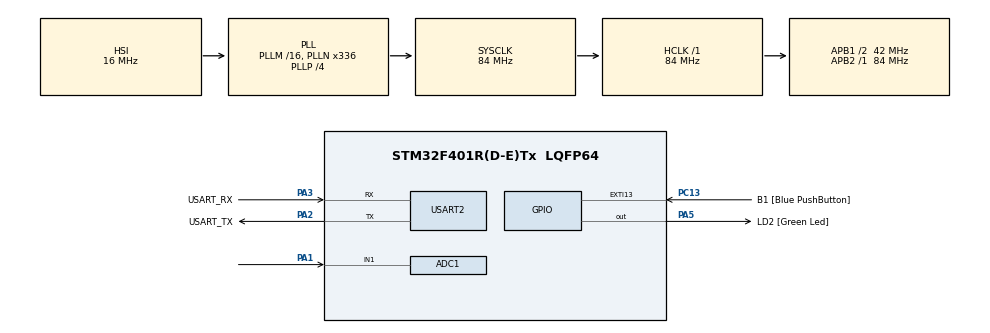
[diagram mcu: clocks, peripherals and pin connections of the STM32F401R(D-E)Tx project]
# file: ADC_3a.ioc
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ADC1.Channel-0\#ChannelRegularConversion=ADC_CHANNEL_1
ADC1.Channel-1\#ChannelInjectedConversion=ADC_CHANNEL_1
ADC1.Channel-4\#ChannelRegularConversion=ADC_CHANNEL_TEMPSENSOR
ADC1.Channel-5\#ChannelRegularConversion=ADC_CHANNEL_VREFINT
ADC1.ContinuousConvMode=DISABLE
ADC1.DMAContinuousRequests=ENABLE
ADC1.EOCSelection=ADC_EOC_SEQ_CONV
ADC1.ExternalTrigConv=ADC_EXTERNALTRIGCONV_T2_TRGO
ADC1.InjNumberOfConversion=1
ADC1.InjectedOffset-1\#ChannelInjectedConversion=0
ADC1.InjectedRank-1\#ChannelInjectedConversion=1
ADC1.NbrOfConversion=3
ADC1.NbrOfConversionFlag=1
ADC1.Rank-0\#ChannelRegularConversion=1
ADC1.Rank-4\#ChannelRegularConversion=2
ADC1.Rank-5\#ChannelRegularConversion=3
ADC1.SamplingTime-0\#ChannelRegularConversion=ADC_SAMPLETIME_480CYCLES
ADC1.SamplingTime-1\#ChannelInjectedConversion=ADC_SAMPLETIME_3CYCLES
ADC1.SamplingTime-4\#ChannelRegularConversion=ADC_SAMPLETIME_480CYCLES
ADC1.SamplingTime-5\#ChannelRegularConversion=ADC_SAMPLETIME_480CYCLES
ADC1.ScanConvMode=ENABLE
ADC1.master=1
Dma.ADC1.1.Direction=DMA_PERIPH_TO_MEMORY
Dma.ADC1.1.FIFOMode=DMA_FIFOMODE_DISABLE
Dma.ADC1.1.Instance=DMA2_Stream0
Dma.ADC1.1.MemDataAlignment=DMA_MDATAALIGN_HALFWORD
Dma.ADC1.1.MemInc=DMA_MINC_ENABLE
Dma.ADC1.1.Mode=DMA_CIRCULAR
Dma.ADC1.1.PeriphDataAlignment=DMA_PDATAALIGN_HALFWORD
Dma.ADC1.1.PeriphInc=DMA_PINC_DISABLE
Dma.ADC1.1.Priority=DMA_PRIORITY_LOW
Dma.Request0=USART2_TX
Dma.Request1=ADC1
Dma.USART2_TX.0.Direction=DMA_MEMORY_TO_PERIPH
Dma.USART2_TX.0.FIFOMode=DMA_FIFOMODE_DISABLE
Dma.USART2_TX.0.Instance=DMA1_Stream6
Dma.USART2_TX.0.MemDataAlignment=DMA_MDATAALIGN_BYTE
Dma.USART2_TX.0.MemInc=DMA_MINC_ENABLE
Dma.USART2_TX.0.Mode=DMA_NORMAL
Dma.USART2_TX.0.PeriphDataAlignment=DMA_PDATAALIGN_BYTE
Dma.USART2_TX.0.PeriphInc=DMA_PINC_DISABLE
Dma.USART2_TX.0.Priority=DMA_PRIORITY_LOW
Mcu.Family=STM32F4
Mcu.Name=STM32F401R(D-E)Tx
Mcu.Package=LQFP64
NVIC.ADC_IRQn=true\:0\:0\:false\:false\:true\:true\:true\:true
NVIC.DMA1_Stream6_IRQn=true\:0\:0\:false\:false\:true\:false\:true\:true
NVIC.DMA2_Stream0_IRQn=true\:0\:0\:false\:false\:true\:false\:true\:true
NVIC.PriorityGroup=NVIC_PRIORITYGROUP_0
NVIC.TIM2_IRQn=true\:0\:0\:false\:false\:true\:true\:true\:true
NVIC.USART2_IRQn=true\:0\:0\:false\:false\:true\:true\:true\:true
PA1.Signal=SharedAnalog_PA1
PA13.GPIO_Label=TMS
PA13.Mode=Serial_Wire
PA13.Signal=SYS_JTMS-SWDIO
PA14.GPIO_Label=TCK
PA14.Mode=Serial_Wire
PA14.Signal=SYS_JTCK-SWCLK
PA2.GPIO_Label=USART_TX
PA2.GPIO_Mode=GPIO_MODE_AF_PP
PA2.GPIO_PuPd=GPIO_NOPULL
PA2.GPIO_Speed=GPIO_SPEED_FREQ_LOW
PA2.Mode=Asynchronous
PA2.Signal=USART2_TX
PA3.GPIO_Label=USART_RX
PA3.GPIO_Mode=GPIO_MODE_AF_PP
PA3.GPIO_PuPd=GPIO_NOPULL
PA3.GPIO_Speed=GPIO_SPEED_FREQ_LOW
PA3.Mode=Asynchronous
PA3.Signal=USART2_RX
PA5.GPIO_Label=LD2 [Green Led]
PA5.GPIO_Mode=GPIO_MODE_OUTPUT_PP
PA5.GPIO_PuPd=GPIO_NOPULL
PA5.GPIO_Speed=GPIO_SPEED_FREQ_LOW
PA5.Signal=GPIO_Output
PB3.GPIO_Label=SWO
PB3.Signal=SYS_JTDO-SWO
PC13-ANTI_TAMP.GPIO_Label=B1 [Blue PushButton]
PC13-ANTI_TAMP.GPIO_ModeDefaultEXTI=GPIO_MODE_IT_FALLING
PC13-ANTI_TAMP.GPIO_PuPd=GPIO_NOPULL
PC13-ANTI_TAMP.Signal=GPXTI13
PC14-OSC32_IN.Mode=LSE-External-Oscillator
PC14-OSC32_IN.Signal=RCC_OSC32_IN
PC15-OSC32_OUT.Mode=LSE-External-Oscillator
PC15-OSC32_OUT.Signal=RCC_OSC32_OUT
PH0\ -\ OSC_IN.Mode=HSE-External-Clock-Source
PH0\ -\ OSC_IN.Signal=RCC_OSC_IN
PH1\ -\ OSC_OUT.Mode=HSE-External-Clock-Source
PH1\ -\ OSC_OUT.Signal=RCC_OSC_OUT
ProjectManager.HeapSize=0x200
ProjectManager.StackSize=0x400
ProjectManager.TargetToolchain=STM32CubeIDE
RCC.48MHZClocksFreq_Value=48000000
RCC.AHBFreq_Value=84000000
RCC.APB1CLKDivider=RCC_HCLK_DIV2
RCC.APB1Freq_Value=42000000
RCC.APB1TimFreq_Value=84000000
RCC.APB2Freq_Value=84000000
RCC.APB2TimFreq_Value=84000000
RCC.CortexFreq_Value=84000000
RCC.HCLKFreq_Value=84000000
RCC.HSE_VALUE=8000000
RCC.HSI_VALUE=16000000
RCC.PLLN=336
RCC.PLLP=RCC_PLLP_DIV4
RCC.PLLQ=7
RCC.SYSCLKFreq_VALUE=84000000
RCC.SYSCLKSource=RCC_SYSCLKSOURCE_PLLCLK
RCC.VCOOutputFreq_Value=336000000
SH.SharedAnalog_PA1.0=GPIO_Analog
SH.SharedAnalog_PA1.1=ADC1_IN1,IN1
TIM2.Period=10000-1
TIM2.Prescaler=8400-1
TIM2.TIM_MasterOutputTrigger=TIM_TRGO_UPDATE
USART2.VirtualMode=VM_ASYNC
VP_ADC1_TempSens_Input.Mode=IN-TempSens
VP_ADC1_Vref_Input.Mode=IN-Vrefint
VP_TIM2_VS_ClockSourceINT.Mode=Internal
board=NUCLEO-F401RE

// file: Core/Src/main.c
/* USER CODE BEGIN Header */
/**
  ******************************************************************************
  * @file           : main.c
  * @brief          : Main program body
  ******************************************************************************
  * @attention
  *
  * Copyright (c) 2024 STMicroelectronics.
  * All rights reserved.
  *
  * This software is licensed under terms that can be found in the LICENSE file
  * in the root directory of this software component.
  * If no LICENSE file comes with this software, it is provided AS-IS.
  *
  ******************************************************************************
  */
/* USER CODE END Header */
#include "main.h"

ADC_HandleTypeDef hadc1;
DMA_HandleTypeDef hdma_adc1;

TIM_HandleTypeDef htim2;

UART_HandleTypeDef huart2;
DMA_HandleTypeDef hdma_usart2_tx;

void SystemClock_Config(void);
static void MX_GPIO_Init(void);
static void MX_DMA_Init(void);
static void MX_USART2_UART_Init(void);
static void MX_ADC1_Init(void);
static void MX_TIM2_Init(void);

/* USER CODE BEGIN 0 */
#define TEMPO 1000
#define CHANNEL_COUNT 3

char buffer_uart[100]; // empty buffer with predefined maximum capacity
uint16_t buffer_dma[CHANNEL_COUNT];

void HAL_ADC_ConvCpltCallback(ADC_HandleTypeDef *hadc) {
	float vpot = buffer_dma[0]*3.3/4096.0;
	float vtemp = (buffer_dma[1]*3.3/4096.0-0.76)/0.0025+25;
	float vrefint = buffer_dma[2]*3.3/4096.0;
	int length = snprintf(
			buffer_uart,
			sizeof(buffer_uart),
			"Potentiometer: %.3f V; Temperature: %.3f %cC; Vrefint: %.3f V\n",
			vpot, vtemp, 176, vrefint);
	HAL_UART_Transmit_DMA(&huart2, buffer_uart, length);
}
/* USER CODE END 0 */

int main(void)
{

  /* MCU Configuration--------------------------------------------------------*/

  /* Reset of all peripherals, Initializes the Flash interface and the Systick. */
  HAL_Init();

  /* Configure the system clock */
  SystemClock_Config();

  /* Initialize all configured peripherals */
  MX_GPIO_Init();
  MX_DMA_Init();
  MX_USART2_UART_Init();
  MX_ADC1_Init();
  MX_TIM2_Init();
  /* USER CODE BEGIN 2 */
  HAL_TIM_Base_Start(&htim2);
  HAL_ADC_Start_DMA(&hadc1, &buffer_dma[0], CHANNEL_COUNT);
  /* USER CODE END 2 */

  /* Infinite loop */
  while (1)
  {

  }
}

void SystemClock_Config(void)
{
  RCC_OscInitTypeDef RCC_OscInitStruct = {0};
  RCC_ClkInitTypeDef RCC_ClkInitStruct = {0};

  /** Configure the main internal regulator output voltage
  */
  __HAL_RCC_PWR_CLK_ENABLE();
  __HAL_PWR_VOLTAGESCALING_CONFIG(PWR_REGULATOR_VOLTAGE_SCALE2);

  /** Initializes the RCC Oscillators according to the specified parameters
  * in the RCC_OscInitTypeDef structure.
  */
  RCC_OscInitStruct.OscillatorType = RCC_OSCILLATORTYPE_HSI;
  RCC_OscInitStruct.HSIState = RCC_HSI_ON;
  RCC_OscInitStruct.HSICalibrationValue = RCC_HSICALIBRATION_DEFAULT;
  RCC_OscInitStruct.PLL.PLLState = RCC_PLL_ON;
  RCC_OscInitStruct.PLL.PLLSource = RCC_PLLSOURCE_HSI;
  RCC_OscInitStruct.PLL.PLLM = 16;
  RCC_OscInitStruct.PLL.PLLN = 336;
  RCC_OscInitStruct.PLL.PLLP = RCC_PLLP_DIV4;
  RCC_OscInitStruct.PLL.PLLQ = 7;
  if (HAL_RCC_OscConfig(&RCC_OscInitStruct) != HAL_OK)
  {
    Error_Handler();
  }

  /** Initializes the CPU, AHB and APB buses clocks
  */
  RCC_ClkInitStruct.ClockType = RCC_CLOCKTYPE_HCLK|RCC_CLOCKTYPE_SYSCLK
                              |RCC_CLOCKTYPE_PCLK1|RCC_CLOCKTYPE_PCLK2;
  RCC_ClkInitStruct.SYSCLKSource = RCC_SYSCLKSOURCE_PLLCLK;
  RCC_ClkInitStruct.AHBCLKDivider = RCC_SYSCLK_DIV1;
  RCC_ClkInitStruct.APB1CLKDivider = RCC_HCLK_DIV2;
  RCC_ClkInitStruct.APB2CLKDivider = RCC_HCLK_DIV1;

  if (HAL_RCC_ClockConfig(&RCC_ClkInitStruct, FLASH_LATENCY_2) != HAL_OK)
  {
    Error_Handler();
  }
}

static void MX_ADC1_Init(void)
{

  ADC_ChannelConfTypeDef sConfig = {0};
  ADC_InjectionConfTypeDef sConfigInjected = {0};

  /** Configure the global features of the ADC (Clock, Resolution, Data Alignment and number of conversion)
  */
  hadc1.Instance = ADC1;
  hadc1.Init.ClockPrescaler = ADC_CLOCK_SYNC_PCLK_DIV4;
  hadc1.Init.Resolution = ADC_RESOLUTION_12B;
  hadc1.Init.ScanConvMode = ENABLE;
  hadc1.Init.ContinuousConvMode = DISABLE;
  hadc1.Init.DiscontinuousConvMode = DISABLE;
  hadc1.Init.ExternalTrigConvEdge = ADC_EXTERNALTRIGCONVEDGE_RISING;
  hadc1.Init.ExternalTrigConv = ADC_EXTERNALTRIGCONV_T2_TRGO;
  hadc1.Init.DataAlign = ADC_DATAALIGN_RIGHT;
  hadc1.Init.NbrOfConversion = 3;
  hadc1.Init.DMAContinuousRequests = ENABLE;
  hadc1.Init.EOCSelection = ADC_EOC_SEQ_CONV;
  if (HAL_ADC_Init(&hadc1) != HAL_OK)
  {
    Error_Handler();
  }

  /** Configure for the selected ADC regular channel its corresponding rank in the sequencer and its sample time.
  */
  sConfig.Channel = ADC_CHANNEL_1;
  sConfig.Rank = 1;
  sConfig.SamplingTime = ADC_SAMPLETIME_480CYCLES;
  if (HAL_ADC_ConfigChannel(&hadc1, &sConfig) != HAL_OK)
  {
    Error_Handler();
  }

  /** Configure for the selected ADC regular channel its corresponding rank in the sequencer and its sample time.
  */
  sConfig.Channel = ADC_CHANNEL_TEMPSENSOR;
  sConfig.Rank = 2;
  if (HAL_ADC_ConfigChannel(&hadc1, &sConfig) != HAL_OK)
  {
    Error_Handler();
  }

  /** Configure for the selected ADC regular channel its corresponding rank in the sequencer and its sample time.
  */
  sConfig.Channel = ADC_CHANNEL_VREFINT;
  sConfig.Rank = 3;
  if (HAL_ADC_ConfigChannel(&hadc1, &sConfig) != HAL_OK)
  {
    Error_Handler();
  }

  /** Configures for the selected ADC injected channel its corresponding rank in the sequencer and its sample time
  */
  sConfigInjected.InjectedChannel = ADC_CHANNEL_1;
  sConfigInjected.InjectedRank = 1;
  sConfigInjected.InjectedNbrOfConversion = 1;
  sConfigInjected.InjectedSamplingTime = ADC_SAMPLETIME_3CYCLES;
  sConfigInjected.ExternalTrigInjecConvEdge = ADC_EXTERNALTRIGINJECCONVEDGE_NONE;
  sConfigInjected.ExternalTrigInjecConv = ADC_INJECTED_SOFTWARE_START;
  sConfigInjected.AutoInjectedConv = DISABLE;
  sConfigInjected.InjectedDiscontinuousConvMode = DISABLE;
  sConfigInjected.InjectedOffset = 0;
  if (HAL_ADCEx_InjectedConfigChannel(&hadc1, &sConfigInjected) != HAL_OK)
  {
    Error_Handler();
  }

}

static void MX_TIM2_Init(void)
{

  TIM_ClockConfigTypeDef sClockSourceConfig = {0};
  TIM_MasterConfigTypeDef sMasterConfig = {0};

  htim2.Instance = TIM2;
  htim2.Init.Prescaler = 8400-1;
  htim2.Init.CounterMode = TIM_COUNTERMODE_UP;
  htim2.Init.Period = (TEMPO*10)-1;
  htim2.Init.ClockDivision = TIM_CLOCKDIVISION_DIV1;
  htim2.Init.AutoReloadPreload = TIM_AUTORELOAD_PRELOAD_DISABLE;
  if (HAL_TIM_Base_Init(&htim2) != HAL_OK)
  {
    Error_Handler();
  }
  sClockSourceConfig.ClockSource = TIM_CLOCKSOURCE_INTERNAL;
  if (HAL_TIM_ConfigClockSource(&htim2, &sClockSourceConfig) != HAL_OK)
  {
    Error_Handler();
  }
  sMasterConfig.MasterOutputTrigger = TIM_TRGO_UPDATE;
  sMasterConfig.MasterSlaveMode = TIM_MASTERSLAVEMODE_DISABLE;
  if (HAL_TIMEx_MasterConfigSynchronization(&htim2, &sMasterConfig) != HAL_OK)
  {
    Error_Handler();
  }

}

static void MX_USART2_UART_Init(void)
{

  huart2.Instance = USART2;
  huart2.Init.BaudRate = 115200;
  huart2.Init.WordLength = UART_WORDLENGTH_8B;
  huart2.Init.StopBits = UART_STOPBITS_1;
  huart2.Init.Parity = UART_PARITY_NONE;
  huart2.Init.Mode = UART_MODE_TX_RX;
  huart2.Init.HwFlowCtl = UART_HWCONTROL_NONE;
  huart2.Init.OverSampling = UART_OVERSAMPLING_16;
  if (HAL_UART_Init(&huart2) != HAL_OK)
  {
    Error_Handler();
  }

}

static void MX_DMA_Init(void)
{

  /* DMA controller clock enable */
  __HAL_RCC_DMA1_CLK_ENABLE();
  __HAL_RCC_DMA2_CLK_ENABLE();

  /* DMA interrupt init */
  /* DMA1_Stream6_IRQn interrupt configuration */
  HAL_NVIC_SetPriority(DMA1_Stream6_IRQn, 0, 0);
  HAL_NVIC_EnableIRQ(DMA1_Stream6_IRQn);
  /* DMA2_Stream0_IRQn interrupt configuration */
  HAL_NVIC_SetPriority(DMA2_Stream0_IRQn, 0, 0);
  HAL_NVIC_EnableIRQ(DMA2_Stream0_IRQn);

}

static void MX_GPIO_Init(void)
{
  GPIO_InitTypeDef GPIO_InitStruct = {0};

  /* GPIO Ports Clock Enable */
  __HAL_RCC_GPIOC_CLK_ENABLE();
  __HAL_RCC_GPIOH_CLK_ENABLE();
  __HAL_RCC_GPIOA_CLK_ENABLE();
  __HAL_RCC_GPIOB_CLK_ENABLE();

  /*Configure GPIO pin Output Level */
  HAL_GPIO_WritePin(LD2_GPIO_Port, LD2_Pin, GPIO_PIN_RESET);

  /*Configure GPIO pin : B1_Pin */
  GPIO_InitStruct.Pin = B1_Pin;
  GPIO_InitStruct.Mode = GPIO_MODE_IT_FALLING;
  GPIO_InitStruct.Pull = GPIO_NOPULL;
  HAL_GPIO_Init(B1_GPIO_Port, &GPIO_InitStruct);

  /*Configure GPIO pin : LD2_Pin */
  GPIO_InitStruct.Pin = LD2_Pin;
  GPIO_InitStruct.Mode = GPIO_MODE_OUTPUT_PP;
  GPIO_InitStruct.Pull = GPIO_NOPULL;
  GPIO_InitStruct.Speed = GPIO_SPEED_FREQ_LOW;
  HAL_GPIO_Init(LD2_GPIO_Port, &GPIO_InitStruct);

}

void Error_Handler(void)
{
  __disable_irq();
  while (1)
  {
  }
}
